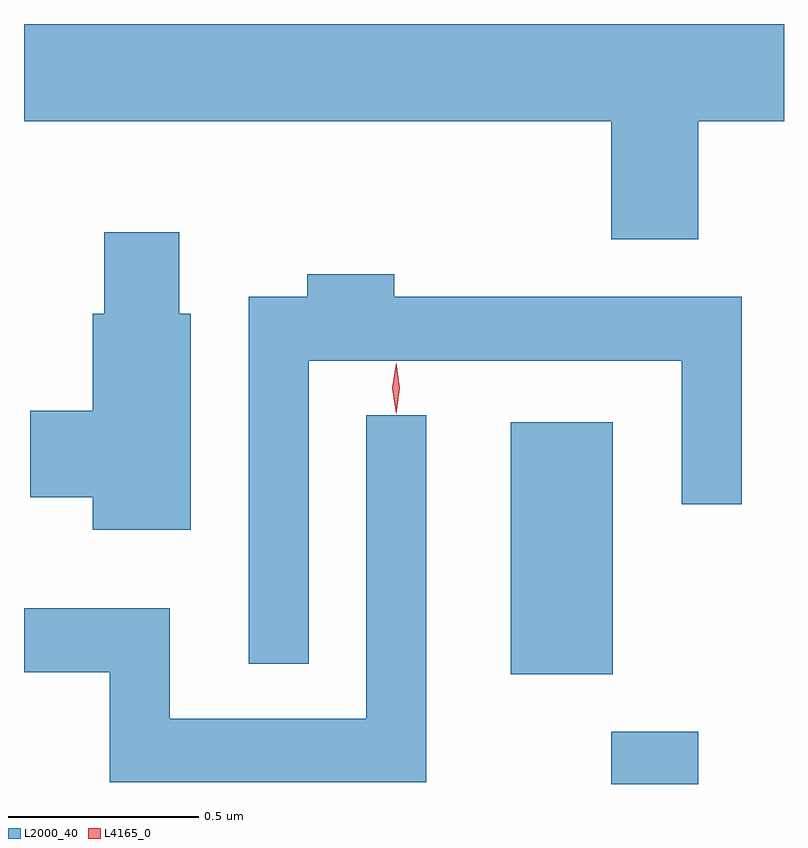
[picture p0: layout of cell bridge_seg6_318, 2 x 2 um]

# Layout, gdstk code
import gdstk
lib = gdstk.Library(unit=1e-6, precision=1e-09)
def R(c, l, rs):  # rectangles x0, y0, x1, y1
    for r in rs: c.add(gdstk.rectangle(r[:2], r[2:], *l))
def P(c, l, *ps):  # polygons
    for p in ps: c.add(gdstk.Polygon(p, *l))
L2000_40 = (2000, 40)
L4165_0 = (4165, 0)

bridge_seg6_318 = lib.new_cell('bridge_seg6_318')
R(bridge_seg6_318, L2000_40, [(1261.141,1554.952,1261.369,1555.089), (1260.876,1555.241,1261.144,1555.904)])
P(bridge_seg6_318, L2000_40, [(1261.369,1556.696),(1261.595,1556.696),(1261.595,1556.952),(1259.595,1556.952),(1259.595,1556.696),(1261.141,1556.696),(1261.141,1556.386),(1261.369,1556.386)],
  [(1260.034,1556.189),(1260.004,1556.189),(1260.004,1556.404),(1259.806,1556.404),(1259.806,1556.189),(1259.776,1556.189),(1259.776,1555.934),(1259.611,1555.934),(1259.611,1555.706),(1259.776,1555.706),(1259.776,1555.621),(1260.034,1555.621)],
  [(1260.344,1556.066),(1261.326,1556.066),(1261.326,1555.688),(1261.484,1555.688),(1261.484,1556.234),(1260.569,1556.234),(1260.569,1556.294),(1260.341,1556.294),(1260.341,1556.234),(1260.186,1556.234),(1260.186,1555.268),(1260.344,1555.268)],
  [(1260.654,1555.923),(1260.496,1555.923),(1260.496,1555.124),(1259.979,1555.124),(1259.979,1555.414),(1259.595,1555.414),(1259.595,1555.246),(1259.821,1555.246),(1259.821,1554.956),(1260.654,1554.956)])
P(bridge_seg6_318, L4165_0, [(1260.574,1555.927),(1260.564,1555.994),(1260.574,1556.06),(1260.574,1556.06),(1260.575,1556.06),(1260.584,1555.994),(1260.575,1555.927),(1260.575,1555.927)])

lib.write_gds('bridge_seg6_318.gds')
